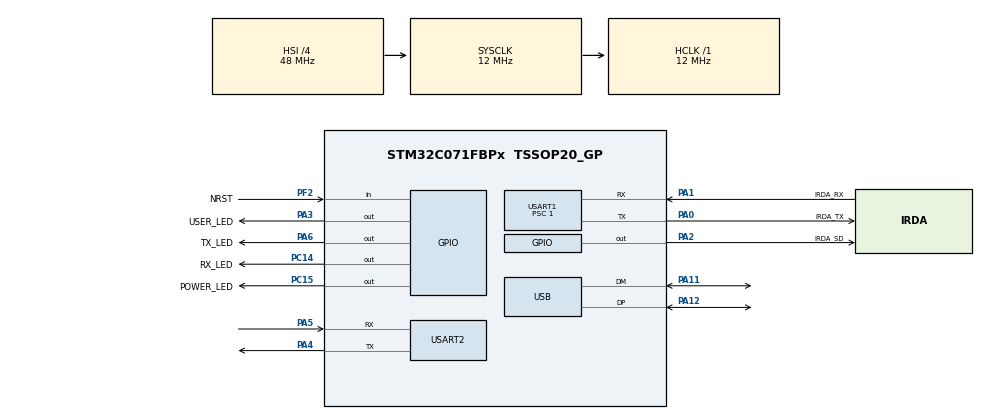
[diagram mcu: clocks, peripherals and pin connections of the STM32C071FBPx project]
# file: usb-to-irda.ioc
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Dma.Request0=USART1_RX
Dma.Request1=USART2_TX
Dma.Request2=USART2_RX
Dma.USART1_RX.0.Direction=DMA_PERIPH_TO_MEMORY
Dma.USART1_RX.0.EventEnable=DISABLE
Dma.USART1_RX.0.Instance=DMA1_Channel1
Dma.USART1_RX.0.MemDataAlignment=DMA_MDATAALIGN_BYTE
Dma.USART1_RX.0.MemInc=DMA_MINC_ENABLE
Dma.USART1_RX.0.Mode=DMA_NORMAL
Dma.USART1_RX.0.PeriphDataAlignment=DMA_PDATAALIGN_BYTE
Dma.USART1_RX.0.PeriphInc=DMA_PINC_DISABLE
Dma.USART1_RX.0.Polarity=HAL_DMAMUX_REQ_GEN_RISING
Dma.USART1_RX.0.Priority=DMA_PRIORITY_LOW
Dma.USART1_RX.0.RequestNumber=1
Dma.USART1_RX.0.SignalID=NONE
Dma.USART1_RX.0.SyncEnable=DISABLE
Dma.USART1_RX.0.SyncPolarity=HAL_DMAMUX_SYNC_NO_EVENT
Dma.USART1_RX.0.SyncRequestNumber=1
Dma.USART1_RX.0.SyncSignalID=NONE
Dma.USART2_RX.2.Direction=DMA_PERIPH_TO_MEMORY
Dma.USART2_RX.2.EventEnable=DISABLE
Dma.USART2_RX.2.Instance=DMA1_Channel3
Dma.USART2_RX.2.MemDataAlignment=DMA_MDATAALIGN_BYTE
Dma.USART2_RX.2.MemInc=DMA_MINC_ENABLE
Dma.USART2_RX.2.Mode=DMA_NORMAL
Dma.USART2_RX.2.PeriphDataAlignment=DMA_PDATAALIGN_BYTE
Dma.USART2_RX.2.PeriphInc=DMA_PINC_DISABLE
Dma.USART2_RX.2.Polarity=HAL_DMAMUX_REQ_GEN_RISING
Dma.USART2_RX.2.Priority=DMA_PRIORITY_LOW
Dma.USART2_RX.2.RequestNumber=1
Dma.USART2_RX.2.SignalID=NONE
Dma.USART2_RX.2.SyncEnable=DISABLE
Dma.USART2_RX.2.SyncPolarity=HAL_DMAMUX_SYNC_NO_EVENT
Dma.USART2_RX.2.SyncRequestNumber=1
Dma.USART2_RX.2.SyncSignalID=NONE
Dma.USART2_TX.1.Direction=DMA_MEMORY_TO_PERIPH
Dma.USART2_TX.1.EventEnable=DISABLE
Dma.USART2_TX.1.Instance=DMA1_Channel2
Dma.USART2_TX.1.MemDataAlignment=DMA_MDATAALIGN_BYTE
Dma.USART2_TX.1.MemInc=DMA_MINC_ENABLE
Dma.USART2_TX.1.Mode=DMA_NORMAL
Dma.USART2_TX.1.PeriphDataAlignment=DMA_PDATAALIGN_BYTE
Dma.USART2_TX.1.PeriphInc=DMA_PINC_DISABLE
Dma.USART2_TX.1.Polarity=HAL_DMAMUX_REQ_GEN_RISING
Dma.USART2_TX.1.Priority=DMA_PRIORITY_LOW
Dma.USART2_TX.1.RequestNumber=1
Dma.USART2_TX.1.SignalID=NONE
Dma.USART2_TX.1.SyncEnable=DISABLE
Dma.USART2_TX.1.SyncPolarity=HAL_DMAMUX_SYNC_NO_EVENT
Dma.USART2_TX.1.SyncRequestNumber=1
Dma.USART2_TX.1.SyncSignalID=NONE
FLASH.OB_BOR_Level_active=false
FLASH.OB_Flash_Security_active=true
FLASH.OB_NBOOT0_UI=OB_NBOOT0_RESET
FLASH.OB_NBOOT1_UI=OB_BOOT1_SYSTEM
FLASH.OB_NRST_MODE_UI=OB_RESET_MODE_INPUT_ONLY
FLASH.OB_PCROP1A_active=false
FLASH.OB_Read_Out_Protection_active=true
FLASH.OB_User_Configuration_active=true
FLASH.OB_Write_Protection1A_active=false
FLASH.OB_nBOOT_SEL_UI=OB_BOOT0_FROM_PIN
FLASH.advanced_settings=false
Mcu.Family=STM32C0
Mcu.Name=STM32C071FBPx
Mcu.Package=TSSOP20_GP
NVIC.DMA1_Channel1_IRQn=true\:0\:0\:false\:false\:true\:false\:true\:true
NVIC.DMA1_Channel2_3_IRQn=true\:0\:0\:false\:false\:true\:false\:true\:true
NVIC.USART1_IRQn=true\:0\:0\:false\:false\:true\:true\:true\:true
NVIC.USART2_IRQn=true\:0\:0\:false\:false\:true\:true\:true\:true
NVIC.USB_DRD_FS_IRQn=true\:0\:0\:false\:false\:true\:true\:true\:true
PA0.GPIO_Label=IRDA_TX
PA0.Mode=IrDA
PA0.Signal=USART1_TX
PA1.GPIO_Label=IRDA_RX
PA1.Mode=IrDA
PA1.Signal=USART1_RX
PA11\ [PA9].Mode=Device
PA11\ [PA9].Signal=USB_DM
PA12\ [PA10].Mode=Device
PA12\ [PA10].Signal=USB_DP
PA13.Mode=Serial_Wire
PA13.Signal=DEBUG_SWDIO
PA14-BOOT0.Mode=Serial_Wire
PA14-BOOT0.Signal=DEBUG_SWCLK
PA14-BOOT0__PA15.StandardMode=true
PA2.GPIO_Label=IRDA_SD
PA2.Signal=GPIO_Output
PA3.GPIO_Label=USER_LED
PA3.Signal=GPIO_Output
PA4.Mode=Asynchronous
PA4.Signal=USART2_TX
PA5.Mode=Asynchronous
PA5.Signal=USART2_RX
PA6.GPIO_Label=TX_LED
PA6.Signal=GPIO_Output
PB3__PB4__PB5__PB6.StandardMode=true
PB7__PB8.StandardMode=true
PC14-OSCX_IN(PC14).GPIO_Label=RX_LED
PC14-OSCX_IN(PC14).Signal=GPIO_Output
PC15-OSCX_OUT(PC15).GPIO_Label=POWER_LED
PC15-OSCX_OUT(PC15).Signal=GPIO_Output
PF2-NRST.GPIO_Label=NRST
PF2-NRST.Signal=GPIO_Input
ProjectManager.HeapSize=0x200
ProjectManager.StackSize=0x400
ProjectManager.TargetToolchain=STM32CubeIDE
RCC.ADCFreq_Value=12000000
RCC.AHBFreq_Value=12000000
RCC.CortexFreq_Value=12000000
RCC.EXTERNAL_CLOCK_VALUE=12288000
RCC.HCLKFreq_Value=12000000
RCC.HSE_VALUE=8000000
RCC.HSI48_VALUE=48000000
RCC.HSI_VALUE=48000000
RCC.LSE_VALUE=32768
RCC.SYSCLKFreq_VALUE=12000000
USART1.Prescaler=1
USART1.VirtualMode-IrDA=VM_IRDA
USART2.VirtualMode-Asynchronous=VM_ASYNC
USB.VirtualMode=Device_Only
VP_FLASH_SIG_Activate_FlashIP.Mode=Activate_FlashIP
board=custom

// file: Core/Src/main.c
/* USER CODE BEGIN Header */
/**
  ******************************************************************************
  * @file           : main.c
  * @brief          : Main program body
  ******************************************************************************
  * @attention
  *
  * Copyright (c) 2025 STMicroelectronics.
  * All rights reserved.
  *
  * This software is licensed under terms that can be found in the LICENSE file
  * in the root directory of this software component.
  * If no LICENSE file comes with this software, it is provided AS-IS.
  *
  ******************************************************************************
  */
/* USER CODE END Header */
#include "main.h"

/* USER CODE BEGIN Includes */
#include "tusb.h"
/* USER CODE END Includes */

/* USER CODE BEGIN PD */
#define IRDA_TRANSFER_SIZE 1
#define UART_TRANSFER_SIZE 1
#define MAX_USB_SINGLE_READ 64
#define IRDA_BUF_SIZE 256
#define UART_BUF_SIZE 256
#define TRANSACT_LED_DECAY_TIME 5
/* USER CODE END PD */

IRDA_HandleTypeDef hirda1;
UART_HandleTypeDef huart2;
DMA_HandleTypeDef hdma_usart1_rx;
DMA_HandleTypeDef hdma_usart2_tx;
DMA_HandleTypeDef hdma_usart2_rx;

PCD_HandleTypeDef hpcd_USB_DRD_FS;

/* USER CODE BEGIN PV */
uint8_t irda_irq_buf[IRDA_TRANSFER_SIZE];
uint8_t uart_irq_buf[UART_TRANSFER_SIZE];

volatile bool usb_mounted = false;

const uint8_t reply[8] = {0xfa, 0x01, 0xa1, 0x97, 0xde, 0xad, 0xbe, 0xef};

uint8_t irda_rx_buf[IRDA_BUF_SIZE];
volatile size_t irda_rx_buf_count = 0;

uint8_t uart_rx_buf[UART_BUF_SIZE];
volatile size_t uart_rx_buf_count = 0;

volatile uint32_t rx_led_off_time;
volatile uint32_t tx_led_off_time;

/* USER CODE END PV */

void SystemClock_Config(void);
static void MX_GPIO_Init(void);
static void MX_DMA_Init(void);
static void MX_USART1_IRDA_Init(void);
static void MX_USART2_UART_Init(void);
static void MX_USB_PCD_Init(void);
static void MX_FLASH_Init(void);

/* USER CODE BEGIN 0 */

/*
 * Copied straight from tinyusb
 */
size_t board_get_unique_id(uint8_t id[], size_t max_len) {
  (void) max_len;
  // fixed serial string is 01234567889ABCDEF
  uint32_t* uid32 = (uint32_t*) (uintptr_t)id;
  uid32[0] = 0x67452301u;
  uid32[1] = 0xEFCDAB89u;
  return 8;
}

/* Blink pattern
 * - 250 ms  : device not mounted
 * - 1000 ms : device mounted
 * - 2500 ms : device is suspended
 */
enum {
  BLINK_NOT_MOUNTED = 250,
  BLINK_MOUNTED = 1000,
  BLINK_SUSPENDED = 2500,
};

static uint32_t blink_interval_ms = BLINK_NOT_MOUNTED;

// Invoked when device is mounted
void tud_mount_cb(void) {
  blink_interval_ms = BLINK_MOUNTED;
  usb_mounted = true;
}

// Invoked when device is unmounted
void tud_umount_cb(void) {
  blink_interval_ms = BLINK_NOT_MOUNTED;
  usb_mounted = false;
}

void set_rx_led() {
	// Set RX LED and set off time
	HAL_GPIO_WritePin(RX_LED_GPIO_Port, RX_LED_Pin, GPIO_PIN_SET);
	rx_led_off_time = HAL_GetTick() + TRANSACT_LED_DECAY_TIME;
}

void set_tx_led() {
	HAL_GPIO_WritePin(TX_LED_GPIO_Port, TX_LED_Pin, GPIO_PIN_SET);
	tx_led_off_time = HAL_GetTick() + TRANSACT_LED_DECAY_TIME;
}

void start_irda_receive() {
	HAL_StatusTypeDef res = HAL_IRDA_Receive_DMA(&hirda1, irda_irq_buf, IRDA_TRANSFER_SIZE);

    // Sometimes returns `HAL_BUSY`. Not sure why but it seems fine if we ignore it
	if(res != HAL_OK) {
		Error_Handler();
	}
}

void start_uart_receive() {
	HAL_StatusTypeDef res = HAL_UART_Receive_DMA(&huart2, uart_irq_buf, UART_TRANSFER_SIZE);

    // Sometimes returns `HAL_BUSY`. Not sure why but it seems fine if we ignore it
	if(res != HAL_OK) {
		Error_Handler();
	}
}

void write_to_irda(uint8_t *buf, size_t len) {

	if(HAL_IRDA_Abort(&hirda1) != HAL_OK) {
		Error_Handler();
	}

	// 136 bytes * 10 bits / 115200 baud is 12 ms
	if(HAL_IRDA_Transmit(&hirda1, buf, len, 15) != HAL_OK) {
		Error_Handler();
	}

	start_irda_receive();

}

void write_to_user(uint8_t *buf, size_t len) {
	int itf = 0;

	// TODO: Probably need to check to see if transmit still in progress before starting
	while(HAL_UART_Transmit_DMA(&huart2, buf, len) != HAL_OK) {
		//Error_Handler();
	}

	if(usb_mounted) {
		//for(size_t i = 0; i < len; i++) {
	//		uint8_t c = buf[i];// ^ 0xaa;
	//		tud_cdc_n_write_char(itf, c);
	//	}
		tud_cdc_n_write(itf, buf, len);
		tud_cdc_n_write_flush(itf);
	}

}

void usb_to_irda_task(void) {
	int itf = 0;
	while (tud_cdc_n_available(itf)) {
		uint8_t buf[MAX_USB_SINGLE_READ];
		uint32_t count = tud_cdc_n_read(itf, buf, MAX_USB_SINGLE_READ);

		set_rx_led();

		write_to_irda(buf, count);
	}
}

void tud_cdc_line_state_cb(uint8_t instance, bool dtr, bool rts) {
  (void)rts;
}

void led_blinking_task(void) {
  static uint32_t start_ms = 0;
  static bool led_state = false;

  // Blink every interval ms
  if (HAL_GetTick() - start_ms < blink_interval_ms) {
    return; // not enough time
  }
  start_ms += blink_interval_ms;

  HAL_GPIO_WritePin(POWER_LED_GPIO_Port, POWER_LED_Pin, led_state);
  led_state = 1 - led_state; // toggle
}

void HAL_IRDA_RxCpltCallback(IRDA_HandleTypeDef *hirda) {
	if(hirda->Instance != hirda1.Instance) return;

	// Get data out of there ASAP to not overwrite it
	for(size_t i = 0; i < IRDA_TRANSFER_SIZE; i++) {
		irda_rx_buf[irda_rx_buf_count++] = irda_irq_buf[i];
	}

	// Main thread can check length of received data with `rx_buf_count`

	// Blink TX LED
	set_tx_led();

	// Restart receiver
	start_irda_receive();

}

void HAL_UART_RxCpltCallback(UART_HandleTypeDef *huart) {
	if(huart->Instance != huart2.Instance) return;

	for(size_t i = 0; i < UART_TRANSFER_SIZE; i++) {
		uart_rx_buf[uart_rx_buf_count++] = uart_irq_buf[i];
	}

	set_rx_led();

	start_uart_receive();
}

void irda_to_user_task() {
	// Do we have data to act on?
	if(irda_rx_buf_count <= 0) return;

	/*
	 * We need to be careful here.
	 * We very likely will have data incoming as we print it out
	 * Can't do CPU-less since tinyusb uses CPU.
	 *
	 */
	size_t start = 0;
	do {
		size_t end_snapshot = irda_rx_buf_count;
		size_t print_count = end_snapshot - start;
		//if(print_count > 7 || irda_rx_buf[start] == (0xfc ^ 0xaa)) {
			write_to_user(&irda_rx_buf[start], print_count);
			start = end_snapshot;
		//}

	} while(start < irda_rx_buf_count);
	irda_rx_buf_count = 0;

}

void uart_to_irda_task() {
	if(uart_rx_buf_count <= 0) return;

	size_t start = 0;
	do {
		size_t end_snapshot = uart_rx_buf_count;
		size_t print_count = end_snapshot - start;
		write_to_irda(&uart_rx_buf[start], print_count);
		start = end_snapshot;
	} while(start < uart_rx_buf_count);
	uart_rx_buf_count = 0;

}

void check_leds_task() {
	uint32_t now = HAL_GetTick();
	if(now > tx_led_off_time) {
		HAL_GPIO_WritePin(TX_LED_GPIO_Port, TX_LED_Pin, GPIO_PIN_RESET);
	}

	if(now > rx_led_off_time) {
		HAL_GPIO_WritePin(RX_LED_GPIO_Port, RX_LED_Pin, GPIO_PIN_RESET);
	}
}

/* USER CODE END 0 */

int main(void)
{

  /* MCU Configuration--------------------------------------------------------*/

  /* Reset of all peripherals, Initializes the Flash interface and the Systick. */
  HAL_Init();

  /* Configure the system clock */
  SystemClock_Config();

  /* Initialize all configured peripherals */
  MX_GPIO_Init();
  MX_DMA_Init();
  MX_USART1_IRDA_Init();
  MX_USART2_UART_Init();
  MX_USB_PCD_Init();
  MX_FLASH_Init();
  /* USER CODE BEGIN 2 */
  tud_init(BOARD_TUD_RHPORT);

  // Enable IrDA transceiver
  HAL_GPIO_WritePin(IRDA_SD_GPIO_Port, IRDA_SD_Pin, GPIO_PIN_RESET);

  // Kickstart IR receiver
  start_irda_receive();

  // Kickstart UART receiver
  start_uart_receive();
  /* USER CODE END 2 */

  /* Infinite loop */
  while (1)
  {

    /* USER CODE BEGIN 3 */
	tud_task();
	usb_to_irda_task();
	uart_to_irda_task();
	irda_to_user_task();
	check_leds_task();
	led_blinking_task();

  }
  /* USER CODE END 3 */
}

void SystemClock_Config(void)
{
  RCC_OscInitTypeDef RCC_OscInitStruct = {0};
  RCC_ClkInitTypeDef RCC_ClkInitStruct = {0};

  __HAL_FLASH_SET_LATENCY(FLASH_LATENCY_0);

  /** Initializes the RCC Oscillators according to the specified parameters
  * in the RCC_OscInitTypeDef structure.
  */
  RCC_OscInitStruct.OscillatorType = RCC_OSCILLATORTYPE_HSI|RCC_OSCILLATORTYPE_HSI48;
  RCC_OscInitStruct.HSIState = RCC_HSI_ON;
  RCC_OscInitStruct.HSIDiv = RCC_HSI_DIV4;
  RCC_OscInitStruct.HSICalibrationValue = RCC_HSICALIBRATION_DEFAULT;
  RCC_OscInitStruct.HSI48State = RCC_HSI48_ON;

  if (HAL_RCC_OscConfig(&RCC_OscInitStruct) != HAL_OK)
  {
    Error_Handler();
  }

  /** Initializes the CPU, AHB and APB buses clocks
  */
  RCC_ClkInitStruct.ClockType = RCC_CLOCKTYPE_HCLK|RCC_CLOCKTYPE_SYSCLK
                              |RCC_CLOCKTYPE_PCLK1;
  RCC_ClkInitStruct.SYSCLKSource = RCC_SYSCLKSOURCE_HSI;
  RCC_ClkInitStruct.SYSCLKDivider = RCC_SYSCLK_DIV1;
  RCC_ClkInitStruct.AHBCLKDivider = RCC_HCLK_DIV1;
  RCC_ClkInitStruct.APB1CLKDivider = RCC_APB1_DIV1;

  if (HAL_RCC_ClockConfig(&RCC_ClkInitStruct, FLASH_LATENCY_0) != HAL_OK)
  {
    Error_Handler();
  }
}

static void MX_FLASH_Init(void)
{

  FLASH_OBProgramInitTypeDef pOBInit = {0};

  if (HAL_FLASH_Unlock() != HAL_OK)
  {
    Error_Handler();
  }

  /* Option Bytes settings */

  if (HAL_FLASH_OB_Unlock() != HAL_OK)
  {
    Error_Handler();
  }
  pOBInit.OptionType = OPTIONBYTE_RDP|OPTIONBYTE_USER
                              |OPTIONBYTE_SEC;
  pOBInit.RDPLevel = OB_RDP_LEVEL_0;
  pOBInit.USERType = OB_USER_NBOOT_SEL|OB_USER_NBOOT1
                              |OB_USER_NRST_MODE;
  pOBInit.USERConfig = OB_BOOT0_FROM_PIN|OB_BOOT1_SYSTEM
                              |OB_NBOOT0_RESET|OB_RESET_MODE_INPUT_ONLY;
  pOBInit.BootEntryPoint = OB_BOOT_LOCK_DISABLE;
  pOBInit.SecSize = 0;
  if (HAL_FLASHEx_OBProgram(&pOBInit) != HAL_OK)
  {
    Error_Handler();
  }
  if (HAL_FLASH_OB_Lock() != HAL_OK)
  {
    Error_Handler();
  }
  if (HAL_FLASH_Lock() != HAL_OK)
  {
    Error_Handler();
  }

  /* Launch Option Bytes Loading */
  /*HAL_FLASH_OB_Launch(); */

  /* USER CODE BEGIN FLASH_Init 2 */
  //HAL_FLASH_OB_Launch();
  /* USER CODE END FLASH_Init 2 */

}

static void MX_USART1_IRDA_Init(void)
{

  hirda1.Instance = USART1;
  hirda1.Init.BaudRate = 115200;
  hirda1.Init.WordLength = IRDA_WORDLENGTH_8B;
  hirda1.Init.Parity = IRDA_PARITY_NONE;
  hirda1.Init.Mode = IRDA_MODE_TX_RX;
  hirda1.Init.Prescaler = 1;
  hirda1.Init.PowerMode = IRDA_POWERMODE_NORMAL;
  hirda1.Init.ClockPrescaler = IRDA_PRESCALER_DIV1;
  if (HAL_IRDA_Init(&hirda1) != HAL_OK)
  {
    Error_Handler();
  }

}

static void MX_USART2_UART_Init(void)
{

  huart2.Instance = USART2;
  huart2.Init.BaudRate = 115200;
  huart2.Init.WordLength = UART_WORDLENGTH_8B;
  huart2.Init.StopBits = UART_STOPBITS_1;
  huart2.Init.Parity = UART_PARITY_NONE;
  huart2.Init.Mode = UART_MODE_TX_RX;
  huart2.Init.HwFlowCtl = UART_HWCONTROL_NONE;
  huart2.Init.OverSampling = UART_OVERSAMPLING_16;
  huart2.Init.OneBitSampling = UART_ONE_BIT_SAMPLE_DISABLE;
  huart2.Init.ClockPrescaler = UART_PRESCALER_DIV1;
  huart2.AdvancedInit.AdvFeatureInit = UART_ADVFEATURE_NO_INIT;
  if (HAL_UART_Init(&huart2) != HAL_OK)
  {
    Error_Handler();
  }

}

static void MX_USB_PCD_Init(void)
{

  hpcd_USB_DRD_FS.Instance = USB_DRD_FS;
  hpcd_USB_DRD_FS.Init.dev_endpoints = 8;
  hpcd_USB_DRD_FS.Init.speed = USBD_FS_SPEED;
  hpcd_USB_DRD_FS.Init.phy_itface = PCD_PHY_EMBEDDED;
  hpcd_USB_DRD_FS.Init.Sof_enable = DISABLE;
  hpcd_USB_DRD_FS.Init.low_power_enable = DISABLE;
  hpcd_USB_DRD_FS.Init.lpm_enable = DISABLE;
  hpcd_USB_DRD_FS.Init.battery_charging_enable = DISABLE;
  hpcd_USB_DRD_FS.Init.vbus_sensing_enable = DISABLE;
  hpcd_USB_DRD_FS.Init.bulk_doublebuffer_enable = DISABLE;
  hpcd_USB_DRD_FS.Init.iso_singlebuffer_enable = DISABLE;
  if (HAL_PCD_Init(&hpcd_USB_DRD_FS) != HAL_OK)
  {
    Error_Handler();
  }

}

static void MX_DMA_Init(void)
{

  /* DMA controller clock enable */
  __HAL_RCC_DMA1_CLK_ENABLE();

  /* DMA interrupt init */
  /* DMA1_Channel1_IRQn interrupt configuration */
  HAL_NVIC_SetPriority(DMA1_Channel1_IRQn, 0, 0);
  HAL_NVIC_EnableIRQ(DMA1_Channel1_IRQn);
  /* DMA1_Channel2_3_IRQn interrupt configuration */
  HAL_NVIC_SetPriority(DMA1_Channel2_3_IRQn, 0, 0);
  HAL_NVIC_EnableIRQ(DMA1_Channel2_3_IRQn);

}

static void MX_GPIO_Init(void)
{
  GPIO_InitTypeDef GPIO_InitStruct = {0};

  /* GPIO Ports Clock Enable */
  __HAL_RCC_GPIOC_CLK_ENABLE();
  __HAL_RCC_GPIOF_CLK_ENABLE();
  __HAL_RCC_GPIOA_CLK_ENABLE();

  /*Configure GPIO pin Output Level */
  HAL_GPIO_WritePin(GPIOC, RX_LED_Pin|POWER_LED_Pin, GPIO_PIN_RESET);

  /*Configure GPIO pin Output Level */
  HAL_GPIO_WritePin(GPIOA, IRDA_SD_Pin|USER_LED_Pin|TX_LED_Pin, GPIO_PIN_RESET);

  /*Configure GPIO pins : RX_LED_Pin POWER_LED_Pin */
  GPIO_InitStruct.Pin = RX_LED_Pin|POWER_LED_Pin;
  GPIO_InitStruct.Mode = GPIO_MODE_OUTPUT_PP;
  GPIO_InitStruct.Pull = GPIO_NOPULL;
  GPIO_InitStruct.Speed = GPIO_SPEED_FREQ_LOW;
  HAL_GPIO_Init(GPIOC, &GPIO_InitStruct);

  /*Configure GPIO pin : NRST_Pin */
  GPIO_InitStruct.Pin = NRST_Pin;
  GPIO_InitStruct.Mode = GPIO_MODE_INPUT;
  GPIO_InitStruct.Pull = GPIO_NOPULL;
  HAL_GPIO_Init(NRST_GPIO_Port, &GPIO_InitStruct);

  /*Configure GPIO pins : IRDA_SD_Pin USER_LED_Pin TX_LED_Pin */
  GPIO_InitStruct.Pin = IRDA_SD_Pin|USER_LED_Pin|TX_LED_Pin;
  GPIO_InitStruct.Mode = GPIO_MODE_OUTPUT_PP;
  GPIO_InitStruct.Pull = GPIO_NOPULL;
  GPIO_InitStruct.Speed = GPIO_SPEED_FREQ_LOW;
  HAL_GPIO_Init(GPIOA, &GPIO_InitStruct);

}

void Error_Handler(void)
{
  __disable_irq();
  while (1)
  {
  }
}
